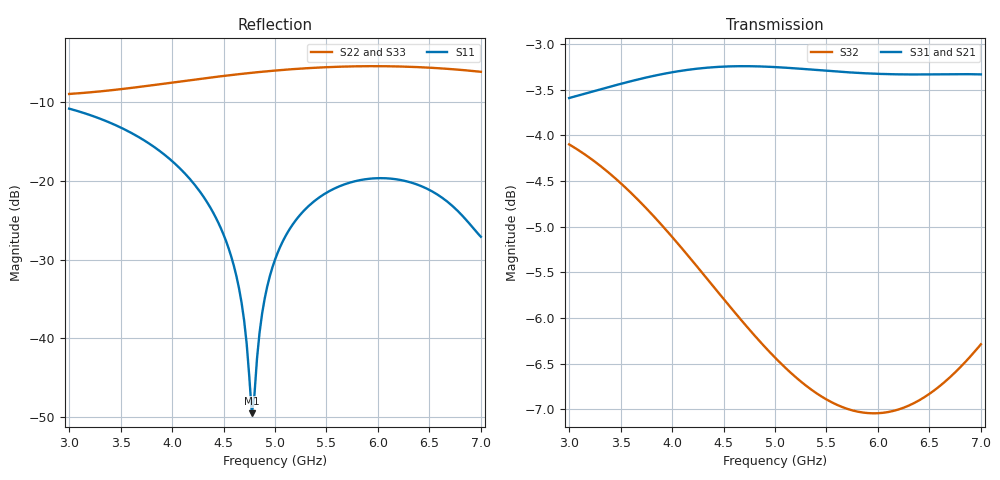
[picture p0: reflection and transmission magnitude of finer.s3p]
! yapnr rf: divider-osh-w-star-sched-w-eq-em528-fwd, footprint re-simulated (refine 3)
! spec sha256 93e0f3d123ef5b798d862bf4c4a94fe7c0b8a7d67cfc294c964d704fa89c1cb5
! 3 ports renormalized to 50 ohm, e^(+jwt) convention
# GHz S RI R 50
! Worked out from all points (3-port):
!   161 points, 3 GHz to 7 GHz, reference 50 ohm
!   strongest paths, dB at 3 GHz, 4 GHz, 5 GHz, 6 GHz, 7 GHz:
!     S31: -3.6, -3.3, -3.3, -3.3, -3.3
!     S21: -3.6, -3.3, -3.3, -3.3, -3.3
!     S32: -4.1, -5.1, -6.4, -7.0, -6.3
!   lowest |S11| = -49.6 dB at 4.775 GHz (marker M1), VSWR 1.01, Z = 49.9 + j0.304 ohm
!   |S11| at or under -10 dB: start of sweep to end of sweep
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3  -0.1059 0.2679  -0.3875 -0.5364  -0.3875 -0.5364
   -0.3875 -0.5359  0.3161 0.1662  -0.6049 -0.1519
   -0.3875 -0.5359  -0.6049 -0.1519  0.3161 0.1662
4.35  0.0361 0.0617  -0.6806 0.0906  -0.6806 0.0906
      -0.6812 0.0895  0.2423 -0.3817  -0.2639 0.4547
      -0.6812 0.0895  -0.2639 0.4547  0.2423 -0.3817
4.65  0.0125 0.0167  -0.6384 0.2548  -0.6384 0.2548
      -0.6399 0.2538  0.1343 -0.458  -0.1317 0.4839
      -0.6399 0.2538  -0.1317 0.4839  0.1343 -0.458
4.775  -0.00133 0.00305  -0.6085 0.3191  -0.6085 0.3191
       -0.6103 0.3182  0.0839 -0.4798  -0.0789 0.4858
       -0.6103 0.3182  -0.0789 0.4858  0.0839 -0.4798
4.875  -0.0133 -0.00536  -0.5797 0.368  -0.5797 0.368
       -0.5818 0.3673  0.042 -0.4927  -0.0381 0.4835
       -0.5818 0.3673  -0.0381 0.4835  0.042 -0.4927
5  -0.0289 -0.0127  -0.5382 0.4252  -0.5382 0.4252
   -0.5406 0.4249  -0.0116 -0.503  0.0106 0.4767
   -0.5406 0.4249  0.0106 0.4767  -0.0116 -0.503
5.35  -0.0698 -0.0152  -0.3935 0.5584  -0.3935 0.5584
      -0.3962 0.5593  -0.1619 -0.4969  0.133 0.4383
      -0.3962 0.5593  0.133 0.4383  -0.1619 -0.4969
5.9  -0.1017 0.0158  -0.1092 0.6701  -0.1092 0.6701
     -0.1108 0.6731  -0.3655 -0.3927  0.2868 0.3397
     -0.1108 0.6731  0.2868 0.3397  -0.3655 -0.3927
6.5  -0.0776 0.0406  0.2243 0.6396  0.2243 0.6396
     0.2259 0.6427  -0.4892 -0.1901  0.4137 0.1905
     0.2259 0.6427  0.4137 0.1905  -0.4892 -0.1901
7  -0.043 0.00977  0.47 0.4893  0.47 0.4893
   0.4735 0.4898  -0.494 -0.00505  0.4843 0.023
   0.4735 0.4898  0.4843 0.023  -0.494 -0.00505
